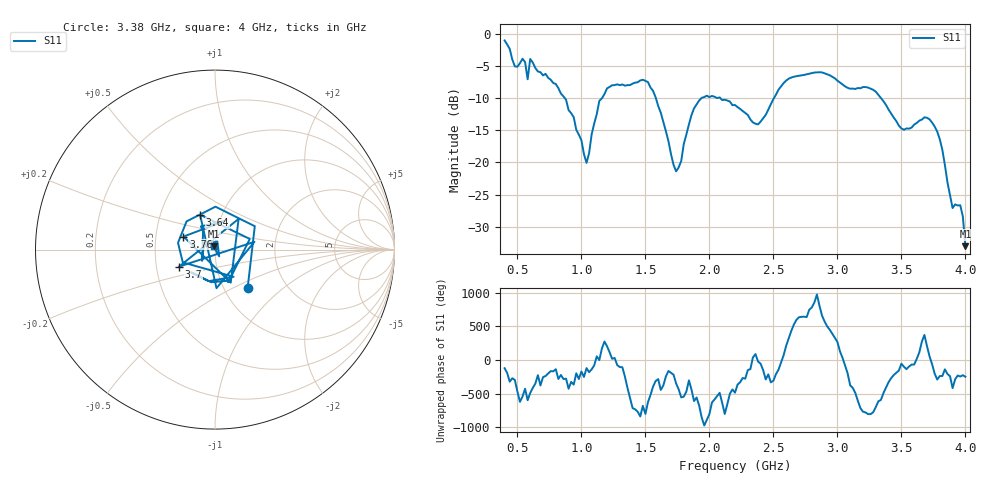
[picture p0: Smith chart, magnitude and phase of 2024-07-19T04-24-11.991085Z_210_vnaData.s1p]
!Created with skrf (http://scikit-rf.org).
# Hz S RI R 50.0
!freq ReS11 ImS11
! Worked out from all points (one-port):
!   181 points, 400 MHz to 4 GHz, reference 50 ohm
!   lowest |S11| = -33.0 dB at 4 GHz (marker M1), VSWR 1.05, Z = 49.2 + j2.06 ohm
!   |S11| at or under -10 dB: 1.582 GHz to 1.938 GHz (356.7 MHz wide, 20.3 % of centre); 2.085 GHz to 2.505 GHz (420.1 MHz wide, 18.3 % of centre); 3.34 GHz to end of sweep (the widest 3 of 5)
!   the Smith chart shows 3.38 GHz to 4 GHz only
!   S11 on the Smith chart (normalised r, x): 3.38 GHz: 1.29, -0.59; 3.64 GHz: 0.79, +0.32; 3.7 GHz: 0.66, -0.13; 3.76 GHz: 0.69, +0.10; 4 GHz: 0.98, +0.04
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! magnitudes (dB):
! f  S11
! 400 MHz  -1.0
! 480 MHz  -5.1
! 560 MHz  -4.4
! 580 MHz  -7.1
! 600 MHz  -3.9
! 860 MHz  -9.8
! 1.04 GHz  -20.1
! 1.14 GHz  -10.4
! 1.3 GHz  -8.0
! 1.52 GHz  -7.5
! 1.62 GHz  -12.3
! 1.72 GHz  -20.4
! 1.76 GHz  -20.8
! 1.86 GHz  -12.6
! 1.92 GHz  -10.4
! 2.2 GHz  -11.1
! 2.38 GHz  -14.1
! 2.66 GHz  -6.7
! 3.1 GHz  -8.5
! 3.38 GHz  -11.1
! 3.56 GHz  -14.8
! 3.64 GHz  -13.5
! 3.7 GHz  -13.1
! 3.76 GHz  -14.4
! 3.82 GHz  -18.0
! 3.9 GHz  -27.1
! 3.96 GHz  -26.7
! 4 GHz  -33.0
